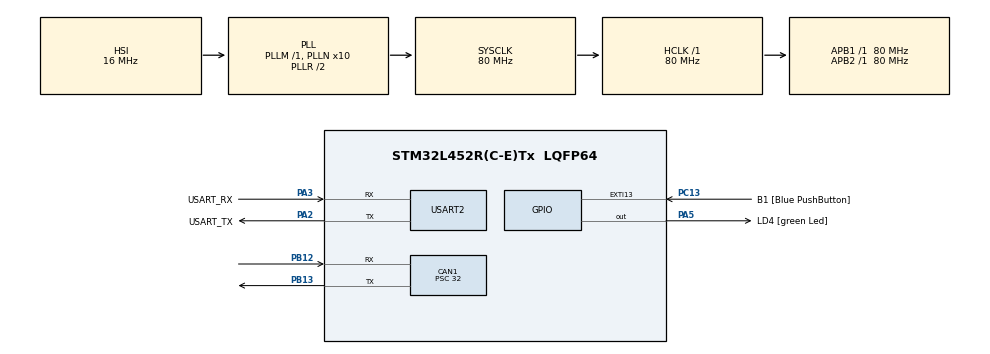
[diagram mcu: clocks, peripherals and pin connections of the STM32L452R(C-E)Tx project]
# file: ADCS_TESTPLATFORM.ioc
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CAN1.BS1=CAN_BS1_2TQ
CAN1.BS2=CAN_BS2_2TQ
CAN1.CalculateBaudRate=500000
CAN1.CalculateTimeBit=2000
CAN1.CalculateTimeQuantum=400.0
CAN1.Prescaler=32
FREERTOS.Tasks01=defaultTask,0,128,StartDefaultTask,Default,NULL,Dynamic,NULL,NULL
FREERTOS.configUSE_NEWLIB_REENTRANT=1
Mcu.Family=STM32L4
Mcu.Name=STM32L452R(C-E)Tx
Mcu.Package=LQFP64
NVIC.PriorityGroup=NVIC_PRIORITYGROUP_4
NVIC.TIM1_UP_TIM16_IRQn=true\:15\:0\:false\:false\:true\:false\:false\:true\:true
NVIC.TimeBase=TIM1_UP_TIM16_IRQn
NVIC.TimeBaseIP=TIM1
PA13\ (JTMS/SWDIO).GPIO_Label=TMS
PA13\ (JTMS/SWDIO).Mode=Serial_Wire
PA13\ (JTMS/SWDIO).Signal=SYS_JTMS-SWDIO
PA14\ (JTCK/SWCLK).GPIO_Label=TCK
PA14\ (JTCK/SWCLK).Mode=Serial_Wire
PA14\ (JTCK/SWCLK).Signal=SYS_JTCK-SWCLK
PA2.GPIO_Label=USART_TX
PA2.GPIO_Mode=GPIO_MODE_AF_PP
PA2.GPIO_PuPd=GPIO_NOPULL
PA2.GPIO_Speed=GPIO_SPEED_FREQ_VERY_HIGH
PA2.Mode=Asynchronous
PA2.Signal=USART2_TX
PA3.GPIO_Label=USART_RX
PA3.GPIO_Mode=GPIO_MODE_AF_PP
PA3.GPIO_PuPd=GPIO_NOPULL
PA3.GPIO_Speed=GPIO_SPEED_FREQ_VERY_HIGH
PA3.Mode=Asynchronous
PA3.Signal=USART2_RX
PA5.GPIO_Label=LD4 [green Led]
PA5.GPIO_ModeDefaultOutputPP=GPIO_MODE_OUTPUT_PP
PA5.GPIO_PuPd=GPIO_NOPULL
PA5.GPIO_Speed=GPIO_SPEED_FREQ_LOW
PA5.Signal=GPIO_Output
PB12.Mode=CAN_Activate
PB12.Signal=CAN1_RX
PB13.Mode=CAN_Activate
PB13.Signal=CAN1_TX
PB3\ (JTDO/TRACESWO).GPIO_Label=SWO
PB3\ (JTDO/TRACESWO).Signal=SYS_JTDO-SWO
PC13.GPIO_Label=B1 [Blue PushButton]
PC13.GPIO_ModeDefaultEXTI=GPIO_MODE_IT_FALLING
PC13.GPIO_PuPd=GPIO_NOPULL
PC13.Signal=GPXTI13
PC14-OSC32_IN\ (PC14).Mode=LSE-External-Oscillator
PC14-OSC32_IN\ (PC14).Signal=RCC_OSC32_IN
PC15-OSC32_OUT\ (PC15).Mode=LSE-External-Oscillator
PC15-OSC32_OUT\ (PC15).Signal=RCC_OSC32_OUT
PH0-OSC_IN\ (PH0).Signal=RCC_OSC_IN
PH1-OSC_OUT\ (PH1).Signal=RCC_OSC_OUT
ProjectManager.HeapSize=0x200
ProjectManager.StackSize=0x400
ProjectManager.TargetToolchain=STM32CubeIDE
RCC.ADCFreq_Value=64000000
RCC.AHBFreq_Value=80000000
RCC.APB1Freq_Value=80000000
RCC.APB1TimFreq_Value=80000000
RCC.APB2Freq_Value=80000000
RCC.APB2TimFreq_Value=80000000
RCC.CortexFreq_Value=80000000
RCC.HCLKFreq_Value=80000000
RCC.HSE_VALUE=8000000
RCC.HSI48_VALUE=48000000
RCC.HSI_VALUE=16000000
RCC.MSI_VALUE=4000000
RCC.PLLN=10
RCC.PLLSourceVirtual=RCC_PLLSOURCE_HSI
RCC.PREFETCH_ENABLE=1
RCC.SYSCLKFreq_VALUE=80000000
RCC.SYSCLKSource=RCC_SYSCLKSOURCE_PLLCLK
RCC.USBFreq_Value=64000000
RCC.VCOOutputFreq_Value=160000000
USART2.VirtualMode-Asynchronous=VM_ASYNC
VP_FREERTOS_VS_CMSIS_V1.Mode=CMSIS_V1
VP_SYS_VS_tim1.Mode=TIM1
board=NUCLEO-L452RE

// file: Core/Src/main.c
/* USER CODE BEGIN Header */
/**
  ******************************************************************************
  * @file           : main.c
  * @brief          : Main program body
  ******************************************************************************
  * @attention
  *
  * Copyright (c) 2025 STMicroelectronics.
  * All rights reserved.
  *
  * This software is licensed under terms that can be found in the LICENSE file
  * in the root directory of this software component.
  * If no LICENSE file comes with this software, it is provided AS-IS.
  *
  ******************************************************************************
  */
/* USER CODE END Header */
#include "main.h"
#include "cmsis_os.h"

/* USER CODE BEGIN Includes */
#include "string.h"
#include "stdio.h"

/* USER CODE END Includes */

CAN_HandleTypeDef hcan1;

UART_HandleTypeDef huart2;

osThreadId defaultTaskHandle;
/* USER CODE BEGIN PV */
CAN_TxHeaderTypeDef TxHeader;
CAN_RxHeaderTypeDef RxHeader;
uint8_t TxData [8];
uint8_t RxData [8];
uint32_t TxMailbox;
/* USER CODE END PV */

void SystemClock_Config(void);
static void MX_GPIO_Init(void);
static void MX_CAN1_Init(void);
static void MX_USART2_UART_Init(void);
void StartDefaultTask(void const * argument);

int main(void)
{

  /* MCU Configuration--------------------------------------------------------*/

  /* Reset of all peripherals, Initializes the Flash interface and the Systick. */
  HAL_Init();

  /* Configure the system clock */
  SystemClock_Config();

  /* Initialize all configured peripherals */
  MX_GPIO_Init();
  MX_CAN1_Init();
  MX_USART2_UART_Init();
  /* USER CODE BEGIN 2 */
  HAL_CAN_Start(&hcan1);
  // Activate notification
  HAL_CAN_ActivateNotification(&hcan1, CAN_IT_RX_FIFO0_MSG_PENDING);

  /* USER CODE END 2 */

  /* Create the thread(s) */
  /* definition and creation of defaultTask */
  osThreadDef(defaultTask, StartDefaultTask, osPriorityNormal, 0, 128);
  defaultTaskHandle = osThreadCreate(osThread(defaultTask), NULL);

  /* Start scheduler */
  osKernelStart();

  /* We should never get here as control is now taken by the scheduler */

  /* Infinite loop */
  while (1)
  {

  }
}

void SystemClock_Config(void)
{
  RCC_OscInitTypeDef RCC_OscInitStruct = {0};
  RCC_ClkInitTypeDef RCC_ClkInitStruct = {0};

  /** Configure the main internal regulator output voltage
  */
  if (HAL_PWREx_ControlVoltageScaling(PWR_REGULATOR_VOLTAGE_SCALE1) != HAL_OK)
  {
    Error_Handler();
  }

  /** Initializes the RCC Oscillators according to the specified parameters
  * in the RCC_OscInitTypeDef structure.
  */
  RCC_OscInitStruct.OscillatorType = RCC_OSCILLATORTYPE_HSI;
  RCC_OscInitStruct.HSIState = RCC_HSI_ON;
  RCC_OscInitStruct.HSICalibrationValue = 64;
  RCC_OscInitStruct.PLL.PLLState = RCC_PLL_ON;
  RCC_OscInitStruct.PLL.PLLSource = RCC_PLLSOURCE_HSI;
  RCC_OscInitStruct.PLL.PLLM = 1;
  RCC_OscInitStruct.PLL.PLLN = 10;
  RCC_OscInitStruct.PLL.PLLP = RCC_PLLP_DIV7;
  RCC_OscInitStruct.PLL.PLLQ = RCC_PLLQ_DIV2;
  RCC_OscInitStruct.PLL.PLLR = RCC_PLLR_DIV2;
  if (HAL_RCC_OscConfig(&RCC_OscInitStruct) != HAL_OK)
  {
    Error_Handler();
  }

  /** Initializes the CPU, AHB and APB buses clocks
  */
  RCC_ClkInitStruct.ClockType = RCC_CLOCKTYPE_HCLK|RCC_CLOCKTYPE_SYSCLK
                              |RCC_CLOCKTYPE_PCLK1|RCC_CLOCKTYPE_PCLK2;
  RCC_ClkInitStruct.SYSCLKSource = RCC_SYSCLKSOURCE_PLLCLK;
  RCC_ClkInitStruct.AHBCLKDivider = RCC_SYSCLK_DIV1;
  RCC_ClkInitStruct.APB1CLKDivider = RCC_HCLK_DIV1;
  RCC_ClkInitStruct.APB2CLKDivider = RCC_HCLK_DIV1;

  if (HAL_RCC_ClockConfig(&RCC_ClkInitStruct, FLASH_LATENCY_4) != HAL_OK)
  {
    Error_Handler();
  }
}

static void MX_CAN1_Init(void)
{

  hcan1.Instance = CAN1;
  hcan1.Init.Prescaler = 32;
  hcan1.Init.Mode = CAN_MODE_NORMAL;
  hcan1.Init.SyncJumpWidth = CAN_SJW_1TQ;
  hcan1.Init.TimeSeg1 = CAN_BS1_2TQ;
  hcan1.Init.TimeSeg2 = CAN_BS2_2TQ;
  hcan1.Init.TimeTriggeredMode = DISABLE;
  hcan1.Init.AutoBusOff = DISABLE;
  hcan1.Init.AutoWakeUp = DISABLE;
  hcan1.Init.AutoRetransmission = ENABLE;
  hcan1.Init.ReceiveFifoLocked = DISABLE;
  hcan1.Init.TransmitFifoPriority = DISABLE;
  if (HAL_CAN_Init(&hcan1) != HAL_OK)
  {
    Error_Handler();
  }
  /* USER CODE BEGIN CAN1_Init 2 */
  CAN_FilterTypeDef canfilterconfig;
    canfilterconfig.FilterBank = 18;
    canfilterconfig.FilterFIFOAssignment = CAN_FILTER_FIFO0;
    canfilterconfig.FilterIdHigh = 0x446 << 5;     // correct: standard ID left-aligned to bits 5–15
    canfilterconfig.FilterIdLow = 0;
    canfilterconfig.FilterMaskIdHigh = 0x7FF << 5; // mask matches all 11 bits of std ID
    canfilterconfig.FilterMaskIdLow = 0;
    canfilterconfig.FilterMode = CAN_FILTERMODE_IDMASK;
    canfilterconfig.FilterScale = CAN_FILTERSCALE_32BIT;
    canfilterconfig.SlaveStartFilterBank = 20;
    if (HAL_CAN_ConfigFilter(&hcan1, &canfilterconfig) != HAL_OK)
    {
        Error_Handler();}

  /* USER CODE END CAN1_Init 2 */

}

static void MX_USART2_UART_Init(void)
{

  huart2.Instance = USART2;
  huart2.Init.BaudRate = 115200;
  huart2.Init.WordLength = UART_WORDLENGTH_8B;
  huart2.Init.StopBits = UART_STOPBITS_1;
  huart2.Init.Parity = UART_PARITY_NONE;
  huart2.Init.Mode = UART_MODE_TX_RX;
  huart2.Init.HwFlowCtl = UART_HWCONTROL_NONE;
  huart2.Init.OverSampling = UART_OVERSAMPLING_16;
  huart2.Init.OneBitSampling = UART_ONE_BIT_SAMPLE_DISABLE;
  huart2.AdvancedInit.AdvFeatureInit = UART_ADVFEATURE_NO_INIT;
  if (HAL_UART_Init(&huart2) != HAL_OK)
  {
    Error_Handler();
  }

}

static void MX_GPIO_Init(void)
{
  GPIO_InitTypeDef GPIO_InitStruct = {0};

  /* GPIO Ports Clock Enable */
  __HAL_RCC_GPIOC_CLK_ENABLE();
  __HAL_RCC_GPIOH_CLK_ENABLE();
  __HAL_RCC_GPIOA_CLK_ENABLE();
  __HAL_RCC_GPIOB_CLK_ENABLE();

  /*Configure GPIO pin Output Level */
  HAL_GPIO_WritePin(LD4_GPIO_Port, LD4_Pin, GPIO_PIN_RESET);

  /*Configure GPIO pin : LD4_Pin */
  GPIO_InitStruct.Pin = LD4_Pin;
  GPIO_InitStruct.Mode = GPIO_MODE_OUTPUT_PP;
  GPIO_InitStruct.Pull = GPIO_NOPULL;
  GPIO_InitStruct.Speed = GPIO_SPEED_FREQ_LOW;
  HAL_GPIO_Init(LD4_GPIO_Port, &GPIO_InitStruct);

}

void StartDefaultTask(void const * argument)
{
  /* USER CODE BEGIN 5 */

	  TxHeader.DLC=5; //datalength
	  TxHeader.IDE= CAN_ID_STD;
	  TxHeader.RTR= CAN_RTR_DATA;
	  TxHeader.StdId= 0x446;//sender ID
  /* Infinite loop */
	  for(;;)
	  {
	      // Load "HELLO" into TxData buffer
	      TxData[0] = 'f';
	      TxData[1] = 'u';
	      TxData[2] = 'c';
	      TxData[3] = 'k';
	      TxData[4] = '!';

	      // Send the CAN message
	      if (HAL_CAN_AddTxMessage(&hcan1, &TxHeader, TxData, &TxMailbox) != HAL_OK)
	      {
	          // Handle transmission error
	          char errorBuffer[100];
	          sprintf(errorBuffer, "CAN TX ERROR: Failed to add message to mailbox\r\n");
	          HAL_UART_Transmit(&huart2, (uint8_t*)errorBuffer, strlen(errorBuffer), HAL_MAX_DELAY);

	          // Try to recover CAN peripheral
	          HAL_CAN_AbortTxRequest(&hcan1, TxMailbox);

	          // Optional: You could implement a retry mechanism here
	          uint8_t retryCount = 0;
	          uint8_t maxRetries = 3;
	          HAL_StatusTypeDef status;

	          while(retryCount < maxRetries) {
	              // Wait before retry
	              osDelay(100);

	              // Retry transmission
	              status = HAL_CAN_AddTxMessage(&hcan1, &TxHeader, TxData, &TxMailbox);
	              if(status == HAL_OK) {
	                  sprintf(errorBuffer, "CAN TX: Retry successful on attempt %d\r\n", retryCount + 1);
	                  HAL_UART_Transmit(&huart2, (uint8_t*)errorBuffer, strlen(errorBuffer), HAL_MAX_DELAY);
	                  break;
	              }

	              retryCount++;
	              sprintf(errorBuffer, "CAN TX: Retry %d failed\r\n", retryCount);
	              HAL_UART_Transmit(&huart2, (uint8_t*)errorBuffer, strlen(errorBuffer), HAL_MAX_DELAY);
	          }

	          if(retryCount >= maxRetries) {
	              sprintf(errorBuffer, "CAN TX: All retries failed, calling Error_Handler()\r\n");
	              HAL_UART_Transmit(&huart2, (uint8_t*)errorBuffer, strlen(errorBuffer), HAL_MAX_DELAY);
	              Error_Handler();
	          }
	      }
	      else {
	          // Success case
	          char buffer[50];
	          sprintf(buffer, "Data sent successfully\r\n");
	          HAL_UART_Transmit(&huart2, (uint8_t*)buffer, strlen(buffer), HAL_MAX_DELAY);
	      }

	      // Wait 1 second before sending again
	      osDelay(1000);
	  }
  /* USER CODE END 5 */
}

void HAL_TIM_PeriodElapsedCallback(TIM_HandleTypeDef *htim)
{
  if (htim->Instance == TIM1)
  {
    HAL_IncTick();
  }
}

void Error_Handler(void)
{
  __disable_irq();
  while (1)
  {
  }
}
